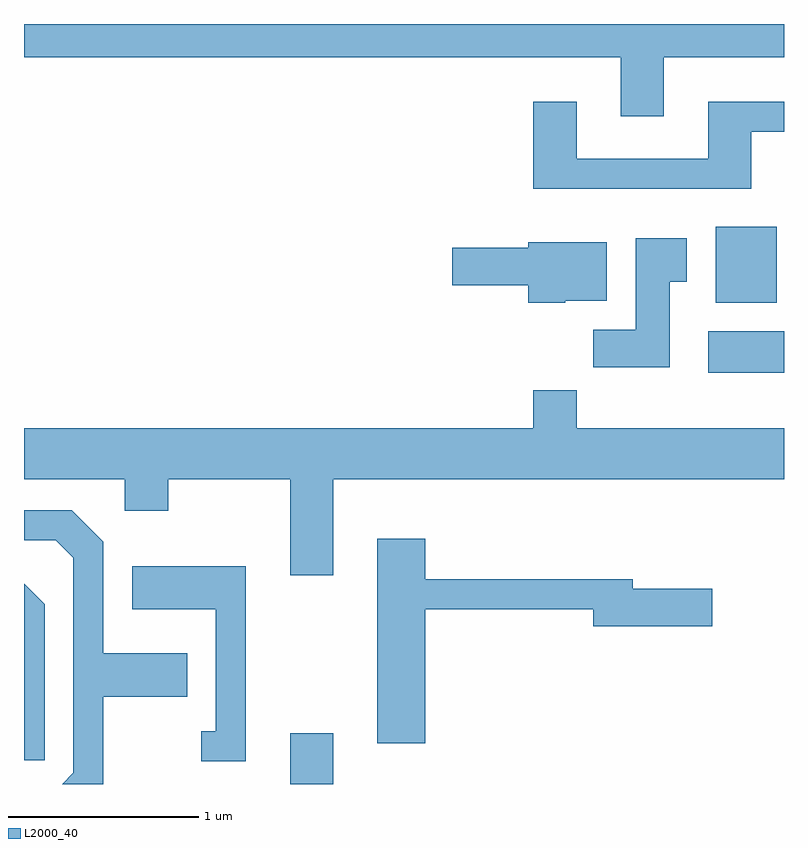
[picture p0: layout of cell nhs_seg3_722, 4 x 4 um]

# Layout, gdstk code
import gdstk
lib = gdstk.Library(unit=1e-6, precision=1e-09)
def R(c, l, rs):  # rectangles x0, y0, x1, y1
    for r in rs: c.add(gdstk.rectangle(r[:2], r[2:], *l))
def P(c, l, *ps):  # polygons
    for p in ps: c.add(gdstk.Polygon(p, *l))
L2000_40 = (2000, 40)

nhs_seg3_722 = lib.new_cell('nhs_seg3_722')
R(nhs_seg3_722, L2000_40, [(207.011,1199.892,207.239,1200.159), (209.211,1202.056,209.611,1202.274), (209.251,1202.426,209.574,1202.824)])
P(nhs_seg3_722, L2000_40, [(208.979,1203.716),(209.611,1203.716),(209.611,1203.892),(205.611,1203.892),(205.611,1203.716),(208.751,1203.716),(208.751,1203.406),(208.979,1203.406)],
  [(209.439,1203.326),(209.611,1203.326),(209.611,1203.484),(209.211,1203.484),(209.211,1203.184),(208.519,1203.184),(208.519,1203.484),(208.291,1203.484),(208.291,1203.026),(209.439,1203.026)],
  [(209.009,1202.536),(209.099,1202.536),(209.099,1202.764),(208.831,1202.764),(208.831,1202.284),(208.606,1202.284),(208.606,1202.086),(209.009,1202.086)],
  [(208.46,1202.436),(208.679,1202.436),(208.679,1202.744),(208.266,1202.744),(208.266,1202.714),(207.866,1202.714),(207.866,1202.516),(208.266,1202.516),(208.266,1202.426),(208.46,1202.426)],
  [(207.239,1201.496),(209.611,1201.496),(209.611,1201.764),(208.519,1201.764),(208.519,1201.964),(208.291,1201.964),(208.291,1201.764),(205.611,1201.764),(205.611,1201.496),(206.141,1201.496),(206.141,1201.331),(206.369,1201.331),(206.369,1201.496),(207.011,1201.496),(207.011,1200.991),(207.239,1200.991)],
  [(206.029,1200.351),(206.469,1200.351),(206.469,1200.579),(206.029,1200.579),(206.029,1201.167),(205.862,1201.334),(205.611,1201.334),(205.611,1201.176),(205.779,1201.176),(205.871,1201.084),(205.871,1199.952),(205.812,1199.892),(206.029,1199.892)],
  [(207.724,1200.811),(208.606,1200.811),(208.606,1200.721),(209.234,1200.721),(209.234,1200.919),(208.814,1200.919),(208.814,1200.969),(207.724,1200.969),(207.724,1201.184),(207.471,1201.184),(207.471,1200.106),(207.724,1200.106)],
  [(206.779,1201.039),(206.181,1201.039),(206.181,1200.811),(206.621,1200.811),(206.621,1200.169),(206.543,1200.169),(206.543,1200.011),(206.779,1200.011)],
  [(205.719,1200.837),(205.611,1200.945),(205.611,1200.016),(205.719,1200.016)])

lib.write_gds('nhs_seg3_722.gds')
